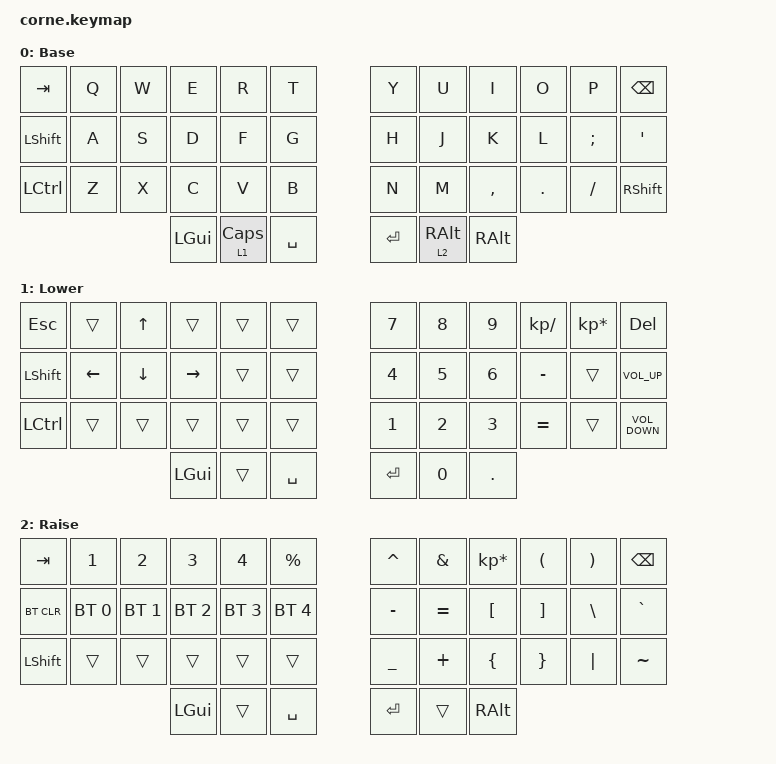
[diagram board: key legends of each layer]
/*
 * Copyright (c) 2020 The ZMK Contributors
 *
 * SPDX-License-Identifier: MIT
 */

#include <behaviors.dtsi>
#include <dt-bindings/zmk/bt.h>
#include <dt-bindings/zmk/keys.h>

/ {
    combos {
        compatible = "zmk,combos";

        tog1 {
            bindings = <&tog 1>;
            key-positions = <37 40>;
        };
    };

    keymap {
        compatible = "zmk,keymap";

        default_layer {
            // -----------------------------------------------------------------------------------------
            // |  TAB |  Q  |  W  |  E  |  R  |  T  |   |  Y  |  U   |  I  |  O  |  P  | BKSP |
            // | CTRL |  A  |  S  |  D  |  F  |  G  |   |  H  |  J   |  K  |  L  |  ;  |  '   |
            // | SHFT |  Z  |  X  |  C  |  V  |  B  |   |  N  |  M   |  ,  |  .  |  /  | ESC  |
            //                    | GUI | LWR | SPC |   | ENT | RSE  | ALT |

            display-name = "Base";
            bindings = <
&kp TAB           &kp Q  &kp W  &kp E     &kp R       &kp T        &kp Y    &kp U            &kp I      &kp O    &kp P     &kp BSPC
&kp LSHFT         &kp A  &kp S  &kp D     &kp F       &kp G        &kp H    &kp J            &kp K      &kp L    &kp SEMI  &kp SQT
&kp LEFT_CONTROL  &kp Z  &kp X  &kp C     &kp V       &kp B        &kp N    &kp M            &kp COMMA  &kp DOT  &kp FSLH  &kp RIGHT_SHIFT
                                &kp LGUI  &lt 1 CAPS  &kp SPACE    &kp RET  &lt 2 RIGHT_ALT  &kp RALT
            >;
        };

        lower_layer {
            // -----------------------------------------------------------------------------------------
            // |  TAB |  1  |  2  |  3  |  4  |  5  |   |  6  |  7  |  8  |  9  |  0  | BKSP |
            // | BTCLR| BT1 | BT2 | BT3 | BT4 | BT5 |   | LFT | DWN |  UP | RGT |     |      |
            // | SHFT |     |     |     |     |     |   |     |     |     |     |     |      |
            //                    | GUI |     | SPC |   | ENT |     | ALT |

            display-name = "Lower";
            bindings = <
&kp ESC         &trans          &kp UP_ARROW    &trans           &trans  &trans       &kp N7        &kp N8        &kp N9        &kp KP_DIVIDE  &kp KP_MULTIPLY  &kp DEL
&kp LEFT_SHIFT  &kp LEFT_ARROW  &kp DOWN_ARROW  &kp RIGHT_ARROW  &trans  &trans       &kp NUMBER_4  &kp N5        &kp NUMBER_6  &kp MINUS      &trans           &kp C_VOLUME_UP
&kp LCTRL       &trans          &trans          &trans           &trans  &trans       &kp NUMBER_1  &kp NUMBER_2  &kp NUMBER_3  &kp EQUAL      &trans           &kp C_VOLUME_DOWN
                                                &kp LGUI         &trans  &kp SPACE    &kp RET       &kp N0        &kp PERIOD
            >;
        };

        raise_layer {
            // -----------------------------------------------------------------------------------------
            // |  TAB |  !  |  @  |  #  |  $  |  %  |   |  ^  |  &  |  *  |  (  |  )  | BKSP |
            // | CTRL |     |     |     |     |     |   |  -  |  =  |  [  |  ]  |  \  |  `   |
            // | SHFT |     |     |     |     |     |   |  _  |  +  |  {  |  }  | "|" |  ~   |
            //                    | GUI |     | SPC |   | ENT |     | ALT |

            display-name = "Raise";
            bindings = <
&kp TAB     &kp NUMBER_1  &kp NUMBER_2  &kp NUMBER_3  &kp NUMBER_4  &kp PRCNT       &kp CARET  &kp AMPS   &kp KP_MULTIPLY  &kp LPAR  &kp RPAR  &kp BSPC
&bt BT_CLR  &bt BT_SEL 0  &bt BT_SEL 1  &bt BT_SEL 2  &bt BT_SEL 3  &bt BT_SEL 4    &kp MINUS  &kp EQUAL  &kp LBKT         &kp RBKT  &kp BSLH  &kp GRAVE
&kp LSHFT   &trans        &trans        &trans        &trans        &trans          &kp UNDER  &kp PLUS   &kp LBRC         &kp RBRC  &kp PIPE  &kp TILDE
                                        &kp LGUI      &trans        &kp SPACE       &kp RET    &trans     &kp RALT
            >;
        };
    };
};
